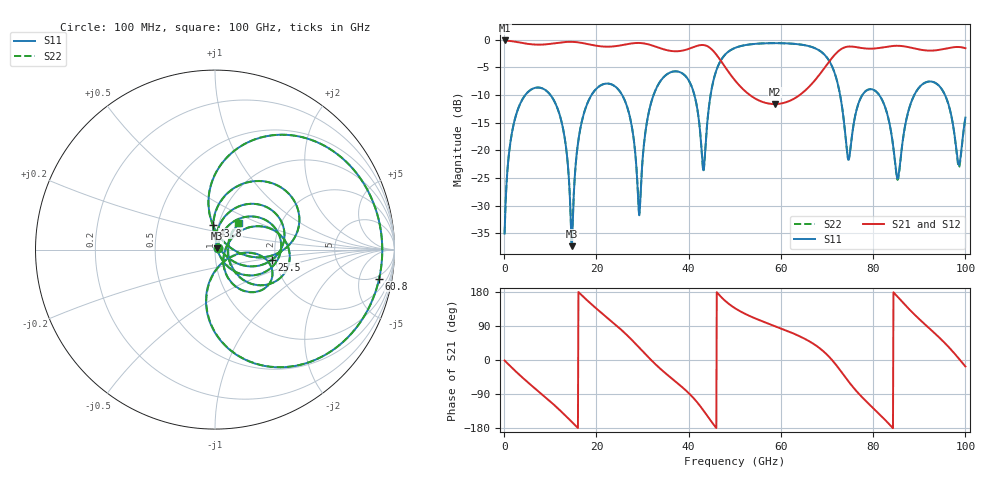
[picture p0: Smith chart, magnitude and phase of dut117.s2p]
! Touchstone file exported from HFSS 2026.1.0
!  File:  C:/ffzhzh/LocalFiles/Ansys_Project_Files/temp_train_TSV_RDL_117_1783458234_34316.aedt
!  Generated:  05:14:36 AM Jul  8, 2026
!  Design:  TSV_RDL
!  Project:  temp_train_TSV_RDL_117_1783458234_34316
! Variables:
!  h_bsmrdl = 3.45um
!  h_ox = 20um
!  h_rdl = 5um
!  h_sub = 89.52um
!  h_tmrdl = 3.88um
!  h_tsv = 89.52um
!  h_via = 3um
!  l_bsmrdl = 176.24um
!  l_sub = 3414.69um
!  l_tmrdl = 589.94um
!  m_sub = 200um
!  pitch = 43.06um
!  r_tsv = 13.51um
!  s_tmrdl = 10um
!  w_bsmrdl = 22.85um
!  w_sub = 500um
!  w_tmrdl = 19.22um
!  x_tsv_center1 = 599.55um
!  x_tsv_center2 = 798.64um
!  x_tsv_center3 = 1407.8um
!  x_tsv_center4 = 1606.89um
!  x_tsv_center5 = 2216.05um
!  x_tsv_center6 = 2415.14um
# GHz S MA R 50.000000
! Terminal data exported
! Port[1] = TM_RDL1_1_T1
! Port[2] = TM_RDL5_1_T1
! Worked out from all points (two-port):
!   1000 points, 100 MHz to 100 GHz, reference 50 ohm
!   highest |S21| = -0.13 dB at 100 MHz (marker M1); lowest = -11.6 dB at 58.7 GHz (marker M2)
!   |S21| within 3 dB of the highest: start of sweep to 46.4 GHz; 71.25 GHz to end of sweep
!   lowest |S11| = -37.3 dB at 14.7 GHz (marker M3), VSWR 1.03, Z = 51.2 + j0.64 ohm
!   |S11| at or under -10 dB: 10.05 GHz to 18.94 GHz (8.892 GHz wide, 61.4 % of centre); 25.59 GHz to 32.39 GHz (6.804 GHz wide, 23.5 % of centre); 81.33 GHz to 88.91 GHz (7.585 GHz wide, 8.91 % of centre) (the widest 3 of 7)
!   |S22| runs from -36.8 to -0.6 dB; largest |S21 - S12| = 2.8e-13
!   S11 on the Smith chart (normalised r, x): 100 MHz: 1.03, +0.02; 25.5 GHz: 1.90, -0.25; 43.8 GHz: 0.95, +0.26; 60.8 GHz: 4, -10; 100 GHz: 1.24, +0.38
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0.1  0.01768 32.7  0.9853 -1.3  0.9853 -1.3  0.01768 32.7
! Gamma 0 0 0 0
! Port Impedance 50 0 50 0
2.3  0.1895 56.2  0.9612 -27.6  0.9612 -27.6  0.1895 56.2
7.3  0.37 5.9  0.9028 -81.3  0.9028 -81.3  0.3699 6.0
12.2  0.1983 -43.4  0.945 -134.0  0.945 -134.0  0.1983 -43.2
14.7  0.01362 27.3  0.9573 -163.8  0.9573 -163.8  0.01447 26.7
16.8  0.1793 75.1  0.9365 171.2  0.9365 171.2  0.1794 74.9
25.5  0.3209 -10.4  0.893 78.5  0.893 78.5  0.321 -10.3
29.3  0.0259 32.5  0.935 32.5  0.935 32.5  0.02713 32.3
33.4  0.3926 68.0  0.8503 -18.0  0.8503 -18.0  0.3926 67.8
43.8  0.1348 94.2  0.884 -143.3  0.884 -143.3  0.1343 94.6
50.1  0.8453 42.5  0.4264 136.3  0.4264 136.3  0.8452 42.5
58.7  0.932 -0.9  0.2622 89.4  0.2622 89.4  0.932 -0.9
60.8  0.9289 -10.0  0.2699 79.6  0.2699 79.6  0.9289 -10.0
66.7  0.86 -41.1  0.3991 45.4  0.3991 45.4  0.8601 -41.1
72.4  0.3879 -95.1  0.7842 -19.8  0.7842 -19.8  0.3885 -94.8
74.6  0.0823 -56.3  0.8673 -55.6  0.8673 -55.6  0.08439 -56.4
76.2  0.2141 -5.1  0.8597 -79.6  0.8597 -79.6  0.2146 -5.6
83.4  0.1869 -64.4  0.8704 -168.2  0.8704 -168.2  0.1866 -64.8
85.4  0.05624 -6.4  0.8818 165.5  0.8818 165.5  0.05489 -6.4
91.5  0.4137 -1.1  0.8004 91.0  0.8004 91.0  0.4133 -1.1
98.5  0.07478 -9.2  0.8602 4.8  0.8602 4.8  0.07128 -9.4
100  0.1979 47.7  0.8385 -17.1  0.8385 -17.1  0.1966 48.9
